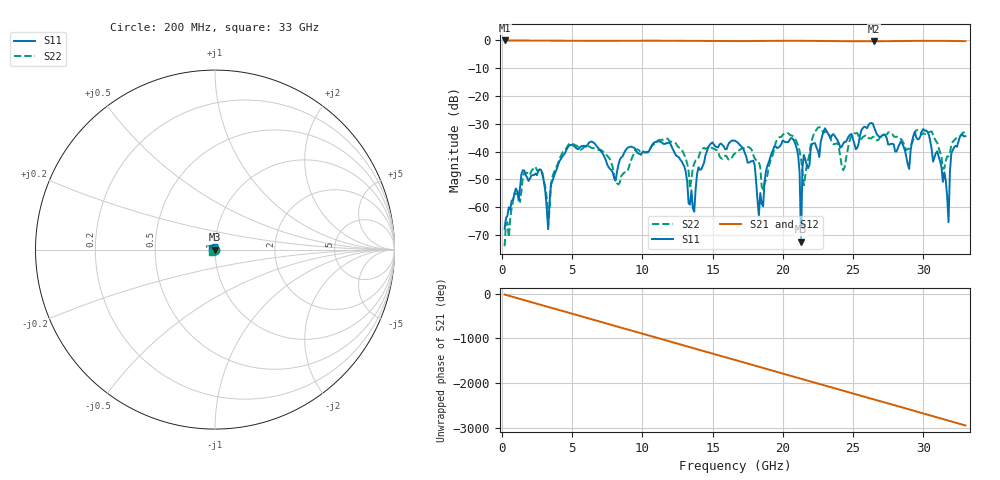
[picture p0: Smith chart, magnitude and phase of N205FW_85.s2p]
# GHZ S RI R 50
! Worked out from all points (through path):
!   329 points, 200 MHz to 33 GHz, reference 50 ohm
!   highest |S21| = -0.01 dB at 200 MHz (marker M1); lowest = -0.3 dB at 26.5 GHz (marker M2)
!   group delay of S21, straight-line fit = 248 ps
!   lowest |S11| = -72.4 dB at 21.3 GHz (marker M3), VSWR 1.00, Z = 50 - j0.0105 ohm
!   |S11| at or under -10 dB: start of sweep to end of sweep
!   |S22| runs from -74.0 to -31.3 dB; largest |S21 - S12| = 0.0022
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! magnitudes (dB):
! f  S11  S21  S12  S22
! 200 MHz  -67.8  0.0  0.0  -74.0
! 1.6 GHz  -46.8  0.0  0.0  -47.6
! 2.8 GHz  -46.6  -0.1  -0.1  -46.6
! 3.3 GHz  -67.9  -0.1  -0.1  -66.6
! 4.1 GHz  -43.5  -0.1  -0.1  -42.5
! 5.7 GHz  -38.1  -0.1  -0.1  -39.1
! 11.2 GHz  -36.4  -0.1  -0.1  -35.8
! 13.7 GHz  -61.6  -0.2  -0.2  -44.2
! 14.8 GHz  -37.6  -0.2  -0.2  -38.1
! 16.6 GHz  -36.1  -0.2  -0.2  -40.7
! 18.3 GHz  -63.0  -0.2  -0.2  -43.8
! 20.8 GHz  -36.1  -0.1  -0.1  -34.7
! 21.2 GHz  -47.8  -0.1  -0.1  -39.8
! 21.3 GHz  -72.4  -0.1  -0.1  -42.5
! 21.5 GHz  -41.2  -0.1  -0.1  -52.1
! 22.1 GHz  -37.2  -0.2  -0.1  -35.4
! 26.5 GHz  -31.2  -0.3  -0.3  -34.9
! 27.6 GHz  -37.5  -0.3  -0.3  -33.0
! 30.3 GHz  -32.9  -0.1  -0.1  -33.4
! 31.8 GHz  -65.4  -0.2  -0.2  -41.7
! 32 GHz  -40.7  -0.2  -0.2  -37.6
! 33 GHz  -34.4  -0.3  -0.3  -33.0
